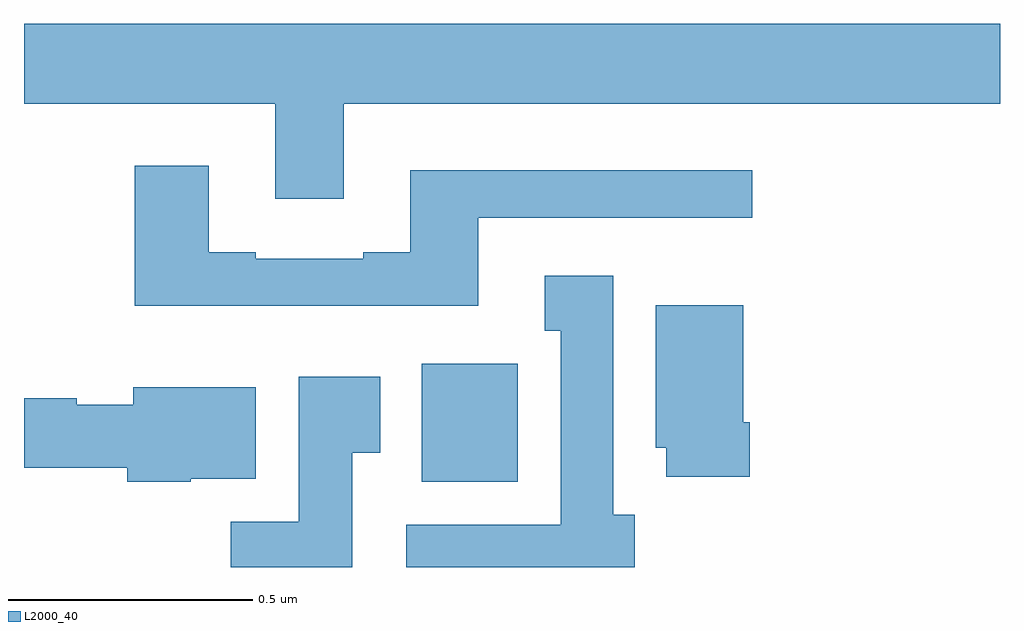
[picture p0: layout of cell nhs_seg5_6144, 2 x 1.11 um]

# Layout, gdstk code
import gdstk
lib = gdstk.Library(unit=1e-6, precision=1e-09)
def R(c, l, rs):  # rectangles x0, y0, x1, y1
    for r in rs: c.add(gdstk.rectangle(r[:2], r[2:], *l))
def P(c, l, *ps):  # polygons
    for p in ps: c.add(gdstk.Polygon(p, *l))
L2000_40 = (2000, 40)

nhs_seg5_6144 = lib.new_cell('nhs_seg5_6144')
R(nhs_seg5_6144, L2000_40, [(192.815,867.974,193.012,868.216)])
P(nhs_seg5_6144, L2000_40, [(192,868.748),(192.515,868.748),(192.515,868.554),(192.655,868.554),(192.655,868.748),(194,868.748),(194,868.912),(192,868.912)],
  [(192.931,868.515),(193.492,868.515),(193.492,868.612),(192.791,868.612),(192.791,868.444),(192.695,868.444),(192.695,868.431),(192.475,868.431),(192.475,868.444),(192.379,868.444),(192.379,868.621),(192.227,868.621),(192.227,868.334),(192.931,868.334)],
  [(193.252,867.906),(193.207,867.906),(193.207,868.396),(193.067,868.396),(193.067,868.283),(193.1,868.283),(193.1,867.886),(192.783,867.886),(192.783,867.799),(193.252,867.799)],
  [(193.487,868.096),(193.474,868.096),(193.474,868.336),(193.295,868.336),(193.295,868.044),(193.316,868.044),(193.316,867.984),(193.487,867.984)],
  [(192.673,868.033),(192.73,868.033),(192.73,868.189),(192.563,868.189),(192.563,867.892),(192.424,867.892),(192.424,867.799),(192.673,867.799)],
  [(192.342,867.98),(192.475,867.98),(192.475,868.168),(192.224,868.168),(192.224,868.132),(192.108,868.132),(192.108,868.145),(192,868.145),(192,868.003),(192.212,868.003),(192.212,867.974),(192.342,867.974)])

lib.write_gds('nhs_seg5_6144.gds')
